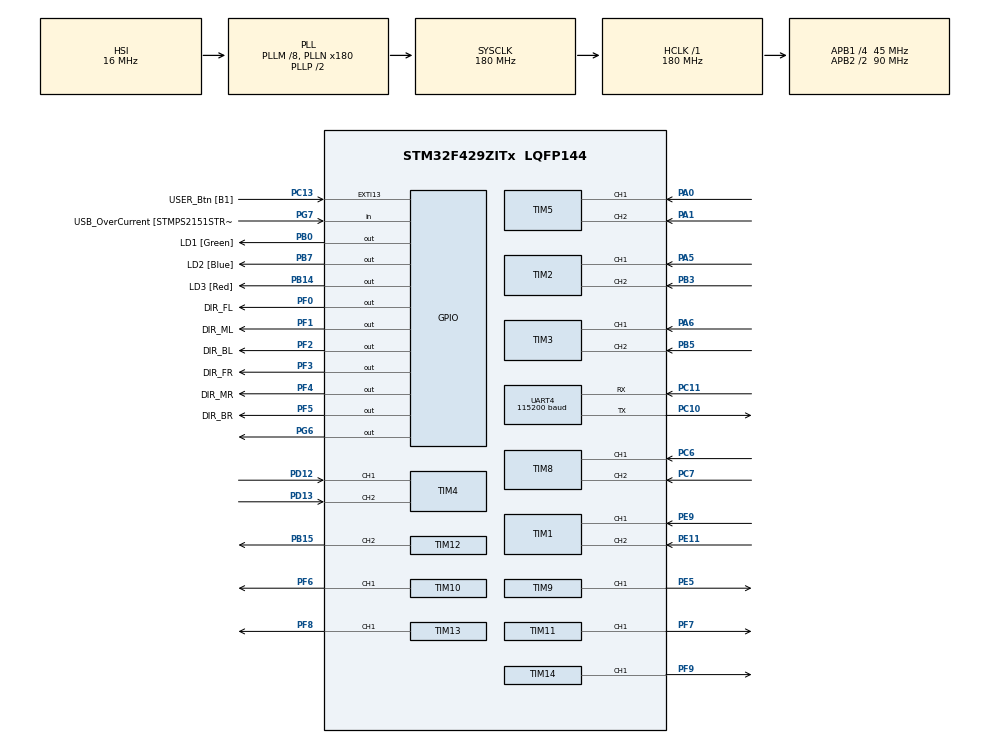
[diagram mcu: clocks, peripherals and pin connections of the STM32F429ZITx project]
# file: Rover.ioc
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Dma.Request0=UART4_RX
Dma.Request1=UART4_TX
Dma.UART4_RX.0.Direction=DMA_PERIPH_TO_MEMORY
Dma.UART4_RX.0.FIFOMode=DMA_FIFOMODE_DISABLE
Dma.UART4_RX.0.Instance=DMA1_Stream2
Dma.UART4_RX.0.MemDataAlignment=DMA_MDATAALIGN_BYTE
Dma.UART4_RX.0.MemInc=DMA_MINC_ENABLE
Dma.UART4_RX.0.Mode=DMA_CIRCULAR
Dma.UART4_RX.0.PeriphDataAlignment=DMA_PDATAALIGN_BYTE
Dma.UART4_RX.0.PeriphInc=DMA_PINC_DISABLE
Dma.UART4_RX.0.Priority=DMA_PRIORITY_LOW
Dma.UART4_TX.1.Direction=DMA_MEMORY_TO_PERIPH
Dma.UART4_TX.1.FIFOMode=DMA_FIFOMODE_DISABLE
Dma.UART4_TX.1.Instance=DMA1_Stream4
Dma.UART4_TX.1.MemDataAlignment=DMA_MDATAALIGN_BYTE
Dma.UART4_TX.1.MemInc=DMA_MINC_ENABLE
Dma.UART4_TX.1.Mode=DMA_NORMAL
Dma.UART4_TX.1.PeriphDataAlignment=DMA_PDATAALIGN_BYTE
Dma.UART4_TX.1.PeriphInc=DMA_PINC_DISABLE
Dma.UART4_TX.1.Priority=DMA_PRIORITY_LOW
Mcu.Family=STM32F4
Mcu.Name=STM32F429ZITx
Mcu.Package=LQFP144
NVIC.DMA1_Stream2_IRQn=true\:0\:0\:false\:false\:true\:false\:true\:true
NVIC.DMA1_Stream4_IRQn=true\:0\:0\:false\:false\:true\:false\:true\:true
NVIC.PriorityGroup=NVIC_PRIORITYGROUP_4
NVIC.UART4_IRQn=true\:0\:0\:false\:false\:true\:false\:true\:true
PA0/WKUP.Signal=S_TIM5_CH1
PA1.Signal=S_TIM5_CH2
PA10.GPIO_Label=USB_ID
PA10.Signal=USB_OTG_FS_ID
PA11.GPIO_Label=USB_DM
PA11.Signal=USB_OTG_FS_DM
PA12.GPIO_Label=USB_DP
PA12.Signal=USB_OTG_FS_DP
PA13.GPIO_Label=TMS
PA13.Mode=Serial_Wire
PA13.Signal=SYS_JTMS-SWDIO
PA14.GPIO_Label=TCK
PA14.Mode=Serial_Wire
PA14.Signal=SYS_JTCK-SWCLK
PA2.GPIO_Label=RMII_MDIO [LAN8742A-CZ-TR_MDIO]
PA2.Signal=ETH_MDIO
PA5.Signal=S_TIM2_CH1_ETR
PA6.Signal=S_TIM3_CH1
PA7.GPIO_Label=RMII_CRS_DV [LAN8742A-CZ-TR_CRS_DV]
PA7.Signal=ETH_CRS_DV
PA8.GPIO_Label=USB_SOF [TP1]
PA8.Signal=USB_OTG_FS_SOF
PA9.GPIO_Label=USB_VBUS
PA9.Signal=USB_OTG_FS_VBUS
PB0.GPIO_Label=LD1 [Green]
PB0.Signal=GPIO_Output
PB13.GPIO_Label=RMII_TXD1 [LAN8742A-CZ-TR_TXD1]
PB13.Signal=ETH_TXD1
PB14.GPIO_Label=LD3 [Red]
PB14.Signal=GPIO_Output
PB15.Signal=S_TIM12_CH2
PB3.Signal=S_TIM2_CH2
PB5.Signal=S_TIM3_CH2
PB7.GPIO_Label=LD2 [Blue]
PB7.Signal=GPIO_Output
PC1.GPIO_Label=RMII_MDC [LAN8742A-CZ-TR_MDC]
PC1.Signal=ETH_MDC
PC10.Mode=Asynchronous
PC10.Signal=UART4_TX
PC11.Mode=Asynchronous
PC11.Signal=UART4_RX
PC13.GPIO_Label=USER_Btn [B1]
PC13.Signal=GPXTI13
PC14/OSC32_IN.Signal=RCC_OSC32_IN
PC15/OSC32_OUT.Signal=RCC_OSC32_OUT
PC4.GPIO_Label=RMII_RXD0 [LAN8742A-CZ-TR_RXD0]
PC4.Signal=ETH_RXD0
PC5.GPIO_Label=RMII_RXD1 [LAN8742A-CZ-TR_RXD1]
PC5.Signal=ETH_RXD1
PC6.Signal=S_TIM8_CH1
PC7.Signal=S_TIM8_CH2
PD12.Signal=S_TIM4_CH1
PD13.Signal=S_TIM4_CH2
PD8.GPIO_Label=STLK_RX [STM32F103CBT6_PA3]
PD8.Signal=USART3_TX
PD9.GPIO_Label=STLK_TX [STM32F103CBT6_PA2]
PD9.Signal=USART3_RX
PE11.Signal=S_TIM1_CH2
PE5.Signal=S_TIM9_CH1
PE9.Signal=S_TIM1_CH1
PF0.GPIO_Label=DIR_FL
PF0.GPIO_Speed=GPIO_SPEED_FREQ_HIGH
PF0.Signal=GPIO_Output
PF1.GPIO_Label=DIR_ML
PF1.GPIO_Speed=GPIO_SPEED_FREQ_HIGH
PF1.Signal=GPIO_Output
PF2.GPIO_Label=DIR_BL
PF2.GPIO_Speed=GPIO_SPEED_FREQ_HIGH
PF2.Signal=GPIO_Output
PF3.GPIO_Label=DIR_FR
PF3.GPIO_Speed=GPIO_SPEED_FREQ_HIGH
PF3.Signal=GPIO_Output
PF4.GPIO_Label=DIR_MR
PF4.GPIO_Speed=GPIO_SPEED_FREQ_HIGH
PF4.Signal=GPIO_Output
PF5.GPIO_Label=DIR_BR
PF5.GPIO_Speed=GPIO_SPEED_FREQ_HIGH
PF5.Signal=GPIO_Output
PF6.Signal=S_TIM10_CH1
PF7.Signal=S_TIM11_CH1
PF8.Signal=S_TIM13_CH1
PF9.Signal=S_TIM14_CH1
PG11.GPIO_Label=RMII_TX_EN [LAN8742A-CZ-TR_TXEN]
PG11.Signal=ETH_TX_EN
PG13.GPIO_Label=RMII_TXD0 [LAN8742A-CZ-TR_TXD0]
PG13.Signal=ETH_TXD0
PG6.GPIO_Speed=GPIO_SPEED_FREQ_HIGH
PG6.Signal=GPIO_Output
PG7.GPIO_Label=USB_OverCurrent [STMPS2151STR_FAULT]
PG7.Signal=GPIO_Input
PH0/OSC_IN.GPIO_Label=MCO [STM32F103CBT6_PA8]
PH0/OSC_IN.Mode=HSE-External-Clock-Source
PH0/OSC_IN.Signal=RCC_OSC_IN
PH1/OSC_OUT.Mode=HSE-External-Clock-Source
PH1/OSC_OUT.Signal=RCC_OSC_OUT
ProjectManager.HeapSize=0x200
ProjectManager.StackSize=0x400
ProjectManager.TargetToolchain=STM32CubeIDE
RCC.48MHZClocksFreq_Value=90000000
RCC.AHBFreq_Value=180000000
RCC.APB1CLKDivider=RCC_HCLK_DIV4
RCC.APB1Freq_Value=45000000
RCC.APB1TimFreq_Value=90000000
RCC.APB2CLKDivider=RCC_HCLK_DIV2
RCC.APB2Freq_Value=90000000
RCC.APB2TimFreq_Value=180000000
RCC.CortexFreq_Value=180000000
RCC.HCLKFreq_Value=180000000
RCC.HSE_VALUE=8000000
RCC.HSI_VALUE=16000000
RCC.LSE_VALUE=32768
RCC.PLLM=8
RCC.PLLMUL=RCC_PLL_MUL9
RCC.PLLN=180
RCC.PRESCALERUSB=RCC_USBCLKSOURCE_PLL_DIV1_5
RCC.SYSCLKFreq_VALUE=180000000
RCC.SYSCLKSource=RCC_SYSCLKSOURCE_PLLCLK
RCC.SYSCLKSourceVirtual=RCC_SYSCLKSOURCE_PLLCLK
RCC.USBFreq_Value=48000000
RCC.VCOOutputFreq_Value=360000000
SH.S_TIM10_CH1.0=TIM10_CH1,PWM Generation1 CH1
SH.S_TIM11_CH1.0=TIM11_CH1,PWM Generation1 CH1
SH.S_TIM12_CH2.0=TIM12_CH2,PWM Generation2 CH2
SH.S_TIM13_CH1.0=TIM13_CH1,PWM Generation1 CH1
SH.S_TIM14_CH1.0=TIM14_CH1,PWM Generation1 CH1
SH.S_TIM1_CH1.0=TIM1_CH1,Encoder_Interface
SH.S_TIM1_CH2.0=TIM1_CH2,Encoder_Interface
SH.S_TIM2_CH1_ETR.0=TIM2_CH1,Encoder_Interface
SH.S_TIM2_CH2.0=TIM2_CH2,Encoder_Interface
SH.S_TIM3_CH1.0=TIM3_CH1,Encoder_Interface
SH.S_TIM3_CH2.0=TIM3_CH2,Encoder_Interface
SH.S_TIM4_CH1.0=TIM4_CH1,Encoder_Interface
SH.S_TIM4_CH2.0=TIM4_CH2,Encoder_Interface
SH.S_TIM5_CH1.0=TIM5_CH1,Encoder_Interface
SH.S_TIM5_CH2.0=TIM5_CH2,Encoder_Interface
SH.S_TIM8_CH1.0=TIM8_CH1,Encoder_Interface
SH.S_TIM8_CH2.0=TIM8_CH2,Encoder_Interface
SH.S_TIM9_CH1.0=TIM9_CH1,PWM Generation1 CH1
TIM1.EncoderMode=TIM_ENCODERMODE_TI12
TIM10.Channel=TIM_CHANNEL_1
TIM10.Period=8999
TIM11.Channel=TIM_CHANNEL_1
TIM11.Period=8999
TIM12.Channel-PWM\ Generation2\ CH2=TIM_CHANNEL_2
TIM12.Period=8999
TIM13.Channel=TIM_CHANNEL_1
TIM13.Period=8999
TIM14.Channel=TIM_CHANNEL_1
TIM14.Period=8999
TIM2.EncoderMode=TIM_ENCODERMODE_TI12
TIM3.EncoderMode=TIM_ENCODERMODE_TI12
TIM4.EncoderMode=TIM_ENCODERMODE_TI12
TIM8.EncoderMode=TIM_ENCODERMODE_TI12
TIM9.Channel-PWM\ Generation1\ CH1=TIM_CHANNEL_1
TIM9.Period=8999
UART4.BaudRate=115200
UART4.VirtualMode=Asynchronous
VP_TIM10_VS_ClockSourceINT.Mode=Enable_Timer
VP_TIM11_VS_ClockSourceINT.Mode=Enable_Timer
VP_TIM13_VS_ClockSourceINT.Mode=Enable_Timer
VP_TIM14_VS_ClockSourceINT.Mode=Enable_Timer
board=NUCLEO-F429ZI

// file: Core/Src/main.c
/* USER CODE BEGIN Header */
/**
  ******************************************************************************
  * @file           : main.c
  * @brief          : Main program body
  ******************************************************************************
  * @attention
  *
  * Copyright (c) 2026 STMicroelectronics.
  * All rights reserved.
  *
  * This software is licensed under terms that can be found in the LICENSE file
  * in the root directory of this software component.
  * If no LICENSE file comes with this software, it is provided AS-IS.
  *
  ******************************************************************************
  */
/* USER CODE END Header */
#include "main.h"

/* USER CODE BEGIN Includes */
#include "protocol.h"
#include "motor.h"
#include "encoder.h"
/* USER CODE END Includes */

TIM_HandleTypeDef htim1;
TIM_HandleTypeDef htim2;
TIM_HandleTypeDef htim3;
TIM_HandleTypeDef htim4;
TIM_HandleTypeDef htim5;
TIM_HandleTypeDef htim8;
TIM_HandleTypeDef htim9;
TIM_HandleTypeDef htim10;
TIM_HandleTypeDef htim11;
TIM_HandleTypeDef htim12;
TIM_HandleTypeDef htim13;
TIM_HandleTypeDef htim14;

UART_HandleTypeDef huart4;
DMA_HandleTypeDef hdma_uart4_rx;
DMA_HandleTypeDef hdma_uart4_tx;

/* USER CODE BEGIN PV */
uint8_t rx_byte;
/* USER CODE END PV */

void SystemClock_Config(void);
static void MX_GPIO_Init(void);
static void MX_DMA_Init(void);
static void MX_UART4_Init(void);
static void MX_TIM1_Init(void);
static void MX_TIM2_Init(void);
static void MX_TIM3_Init(void);
static void MX_TIM4_Init(void);
static void MX_TIM5_Init(void);
static void MX_TIM8_Init(void);
static void MX_TIM9_Init(void);
static void MX_TIM10_Init(void);
static void MX_TIM11_Init(void);
static void MX_TIM12_Init(void);
static void MX_TIM13_Init(void);
static void MX_TIM14_Init(void);

int main(void)
{

  /* MCU Configuration--------------------------------------------------------*/

  /* Reset of all peripherals, Initializes the Flash interface and the Systick. */
  HAL_Init();

  /* Configure the system clock */
  SystemClock_Config();

  /* Initialize all configured peripherals */
  MX_GPIO_Init();
  MX_DMA_Init();
  MX_UART4_Init();
  MX_TIM1_Init();
  MX_TIM2_Init();
  MX_TIM3_Init();
  MX_TIM4_Init();
  MX_TIM5_Init();
  MX_TIM8_Init();
  MX_TIM9_Init();
  MX_TIM10_Init();
  MX_TIM11_Init();
  MX_TIM12_Init();
  MX_TIM13_Init();
  MX_TIM14_Init();
  /* USER CODE BEGIN 2 */
  HAL_UART_Receive_IT(&huart4, &rx_byte, 1);

  Master_PID_Init(&left_board_pid,  2.0f, 0.5f, 0.01f, 0.0f, 0.0f, (float)MAX_PWM);
  Master_PID_Init(&right_board_pid, 2.0f, 0.5f, 0.01f, 0.0f, 0.0f, (float)MAX_PWM);
  for (int i = 0; i < 6; i++) {
      Slave_Init(&wheel_slaves[i], 0.5f);
  }

  HAL_TIM_Encoder_Start(&htim1, TIM_CHANNEL_ALL);
  HAL_TIM_Encoder_Start(&htim2, TIM_CHANNEL_ALL);
  HAL_TIM_Encoder_Start(&htim3, TIM_CHANNEL_ALL);
  HAL_TIM_Encoder_Start(&htim4, TIM_CHANNEL_ALL);
  HAL_TIM_Encoder_Start(&htim5, TIM_CHANNEL_ALL);
  HAL_TIM_Encoder_Start(&htim8, TIM_CHANNEL_ALL);

  HAL_TIM_PWM_Start(&htim9, TIM_CHANNEL_1);
  HAL_TIM_PWM_Start(&htim10, TIM_CHANNEL_1);
  HAL_TIM_PWM_Start(&htim11, TIM_CHANNEL_1);
  HAL_TIM_PWM_Start(&htim12, TIM_CHANNEL_2);
  HAL_TIM_PWM_Start(&htim13, TIM_CHANNEL_1);
  HAL_TIM_PWM_Start(&htim14, TIM_CHANNEL_1);

  uint32_t last_tx_tick = HAL_GetTick();
  TxPacket tx_packet;
  tx_packet.header = 0xBBBB;
  for (int i = 0; i < 6; i++) {
      tx_packet.encoders[i] = 0;
  }
  /* USER CODE END 2 */

  /* Infinite loop */
  while (1)
  {

    /* USER CODE BEGIN 3 */
    if (HAL_GetTick() - last_tx_tick >= 20) { // 50 Гц (20 мс)
        last_tx_tick += 20;

        // Failsafe проверка: если данных не было > 500 мс
        if (HAL_GetTick() - last_packet_time > 500) {
            target_left_speed = 0.0f;
            target_right_speed = 0.0f;
            left_board_pid.integral_sum = 0.0f;
            right_board_pid.integral_sum = 0.0f;
            HAL_GPIO_WritePin(LD1_GPIO_Port, LD1_Pin, GPIO_PIN_RESET); // Зеленый ВЫКЛ
            HAL_GPIO_WritePin(LD3_GPIO_Port, LD3_Pin, GPIO_PIN_SET);   // Красный ВКЛ

            // Мигаем синим светодиодом (LD2) раз в 250 мс
            if ((HAL_GetTick() / 250) % 2 == 0) {
                HAL_GPIO_WritePin(LD2_GPIO_Port, LD2_Pin, GPIO_PIN_SET);
            } else {
                HAL_GPIO_WritePin(LD2_GPIO_Port, LD2_Pin, GPIO_PIN_RESET);
            }
        } else {
            // При нормальной связи синий светодиод выключен
            HAL_GPIO_WritePin(LD2_GPIO_Port, LD2_Pin, GPIO_PIN_RESET);
        }

        read_encoders();

        // Накопление тиков для TX-пакета
        for (int i = 0; i < 6; i++) {
            tx_packet.encoders[i] += current_speeds[i];
        }

        // ПИД-управление (Master-Slave)
        float motor_outputs[6];
        update_rover_control(target_left_speed, target_right_speed, 0.02f, motor_outputs);

        apply_motor_power(motor_outputs);

        // Считаем CRC-8 от данных без байта CRC
        tx_packet.crc = calculate_crc8((uint8_t*)&tx_packet, sizeof(TxPacket) - 1);

        // Отправляем пакет по UART4 через DMA
        if (huart4.gState == HAL_UART_STATE_READY) {
            HAL_UART_Transmit_DMA(&huart4, (uint8_t*)&tx_packet, sizeof(TxPacket));
        }
    }
  }
  /* USER CODE END 3 */
}

void SystemClock_Config(void)
{
  RCC_OscInitTypeDef RCC_OscInitStruct = {0};
  RCC_ClkInitTypeDef RCC_ClkInitStruct = {0};

  /** Configure the main internal regulator output voltage
  */
  __HAL_RCC_PWR_CLK_ENABLE();
  __HAL_PWR_VOLTAGESCALING_CONFIG(PWR_REGULATOR_VOLTAGE_SCALE1);

  /** Initializes the RCC Oscillators according to the specified parameters
  * in the RCC_OscInitTypeDef structure.
  */
  RCC_OscInitStruct.OscillatorType = RCC_OSCILLATORTYPE_HSI;
  RCC_OscInitStruct.HSIState = RCC_HSI_ON;
  RCC_OscInitStruct.HSICalibrationValue = RCC_HSICALIBRATION_DEFAULT;
  RCC_OscInitStruct.PLL.PLLState = RCC_PLL_ON;
  RCC_OscInitStruct.PLL.PLLSource = RCC_PLLSOURCE_HSI;
  RCC_OscInitStruct.PLL.PLLM = 8;
  RCC_OscInitStruct.PLL.PLLN = 180;
  RCC_OscInitStruct.PLL.PLLP = RCC_PLLP_DIV2;
  RCC_OscInitStruct.PLL.PLLQ = 4;
  if (HAL_RCC_OscConfig(&RCC_OscInitStruct) != HAL_OK)
  {
    Error_Handler();
  }

  /** Activate the Over-Drive mode
  */
  if (HAL_PWREx_EnableOverDrive() != HAL_OK)
  {
    Error_Handler();
  }

  /** Initializes the CPU, AHB and APB buses clocks
  */
  RCC_ClkInitStruct.ClockType = RCC_CLOCKTYPE_HCLK|RCC_CLOCKTYPE_SYSCLK
                              |RCC_CLOCKTYPE_PCLK1|RCC_CLOCKTYPE_PCLK2;
  RCC_ClkInitStruct.SYSCLKSource = RCC_SYSCLKSOURCE_PLLCLK;
  RCC_ClkInitStruct.AHBCLKDivider = RCC_SYSCLK_DIV1;
  RCC_ClkInitStruct.APB1CLKDivider = RCC_HCLK_DIV4;
  RCC_ClkInitStruct.APB2CLKDivider = RCC_HCLK_DIV2;

  if (HAL_RCC_ClockConfig(&RCC_ClkInitStruct, FLASH_LATENCY_5) != HAL_OK)
  {
    Error_Handler();
  }
}

static void MX_TIM1_Init(void)
{

  TIM_Encoder_InitTypeDef sConfig = {0};
  TIM_MasterConfigTypeDef sMasterConfig = {0};

  htim1.Instance = TIM1;
  htim1.Init.Prescaler = 0;
  htim1.Init.CounterMode = TIM_COUNTERMODE_UP;
  htim1.Init.Period = 65535;
  htim1.Init.ClockDivision = TIM_CLOCKDIVISION_DIV1;
  htim1.Init.RepetitionCounter = 0;
  htim1.Init.AutoReloadPreload = TIM_AUTORELOAD_PRELOAD_DISABLE;
  sConfig.EncoderMode = TIM_ENCODERMODE_TI12;
  sConfig.IC1Polarity = TIM_ICPOLARITY_RISING;
  sConfig.IC1Selection = TIM_ICSELECTION_DIRECTTI;
  sConfig.IC1Prescaler = TIM_ICPSC_DIV1;
  sConfig.IC1Filter = 0;
  sConfig.IC2Polarity = TIM_ICPOLARITY_RISING;
  sConfig.IC2Selection = TIM_ICSELECTION_DIRECTTI;
  sConfig.IC2Prescaler = TIM_ICPSC_DIV1;
  sConfig.IC2Filter = 0;
  if (HAL_TIM_Encoder_Init(&htim1, &sConfig) != HAL_OK)
  {
    Error_Handler();
  }
  sMasterConfig.MasterOutputTrigger = TIM_TRGO_RESET;
  sMasterConfig.MasterSlaveMode = TIM_MASTERSLAVEMODE_DISABLE;
  if (HAL_TIMEx_MasterConfigSynchronization(&htim1, &sMasterConfig) != HAL_OK)
  {
    Error_Handler();
  }

}

static void MX_TIM2_Init(void)
{

  TIM_Encoder_InitTypeDef sConfig = {0};
  TIM_MasterConfigTypeDef sMasterConfig = {0};

  htim2.Instance = TIM2;
  htim2.Init.Prescaler = 0;
  htim2.Init.CounterMode = TIM_COUNTERMODE_UP;
  htim2.Init.Period = 4294967295;
  htim2.Init.ClockDivision = TIM_CLOCKDIVISION_DIV1;
  htim2.Init.AutoReloadPreload = TIM_AUTORELOAD_PRELOAD_DISABLE;
  sConfig.EncoderMode = TIM_ENCODERMODE_TI12;
  sConfig.IC1Polarity = TIM_ICPOLARITY_RISING;
  sConfig.IC1Selection = TIM_ICSELECTION_DIRECTTI;
  sConfig.IC1Prescaler = TIM_ICPSC_DIV1;
  sConfig.IC1Filter = 0;
  sConfig.IC2Polarity = TIM_ICPOLARITY_RISING;
  sConfig.IC2Selection = TIM_ICSELECTION_DIRECTTI;
  sConfig.IC2Prescaler = TIM_ICPSC_DIV1;
  sConfig.IC2Filter = 0;
  if (HAL_TIM_Encoder_Init(&htim2, &sConfig) != HAL_OK)
  {
    Error_Handler();
  }
  sMasterConfig.MasterOutputTrigger = TIM_TRGO_RESET;
  sMasterConfig.MasterSlaveMode = TIM_MASTERSLAVEMODE_DISABLE;
  if (HAL_TIMEx_MasterConfigSynchronization(&htim2, &sMasterConfig) != HAL_OK)
  {
    Error_Handler();
  }

}

static void MX_TIM3_Init(void)
{

  TIM_Encoder_InitTypeDef sConfig = {0};
  TIM_MasterConfigTypeDef sMasterConfig = {0};

  htim3.Instance = TIM3;
  htim3.Init.Prescaler = 0;
  htim3.Init.CounterMode = TIM_COUNTERMODE_UP;
  htim3.Init.Period = 65535;
  htim3.Init.ClockDivision = TIM_CLOCKDIVISION_DIV1;
  htim3.Init.AutoReloadPreload = TIM_AUTORELOAD_PRELOAD_DISABLE;
  sConfig.EncoderMode = TIM_ENCODERMODE_TI12;
  sConfig.IC1Polarity = TIM_ICPOLARITY_RISING;
  sConfig.IC1Selection = TIM_ICSELECTION_DIRECTTI;
  sConfig.IC1Prescaler = TIM_ICPSC_DIV1;
  sConfig.IC1Filter = 0;
  sConfig.IC2Polarity = TIM_ICPOLARITY_RISING;
  sConfig.IC2Selection = TIM_ICSELECTION_DIRECTTI;
  sConfig.IC2Prescaler = TIM_ICPSC_DIV1;
  sConfig.IC2Filter = 0;
  if (HAL_TIM_Encoder_Init(&htim3, &sConfig) != HAL_OK)
  {
    Error_Handler();
  }
  sMasterConfig.MasterOutputTrigger = TIM_TRGO_RESET;
  sMasterConfig.MasterSlaveMode = TIM_MASTERSLAVEMODE_DISABLE;
  if (HAL_TIMEx_MasterConfigSynchronization(&htim3, &sMasterConfig) != HAL_OK)
  {
    Error_Handler();
  }

}

static void MX_TIM4_Init(void)
{

  TIM_Encoder_InitTypeDef sConfig = {0};
  TIM_MasterConfigTypeDef sMasterConfig = {0};

  htim4.Instance = TIM4;
  htim4.Init.Prescaler = 0;
  htim4.Init.CounterMode = TIM_COUNTERMODE_UP;
  htim4.Init.Period = 65535;
  htim4.Init.ClockDivision = TIM_CLOCKDIVISION_DIV1;
  htim4.Init.AutoReloadPreload = TIM_AUTORELOAD_PRELOAD_DISABLE;
  sConfig.EncoderMode = TIM_ENCODERMODE_TI12;
  sConfig.IC1Polarity = TIM_ICPOLARITY_RISING;
  sConfig.IC1Selection = TIM_ICSELECTION_DIRECTTI;
  sConfig.IC1Prescaler = TIM_ICPSC_DIV1;
  sConfig.IC1Filter = 0;
  sConfig.IC2Polarity = TIM_ICPOLARITY_RISING;
  sConfig.IC2Selection = TIM_ICSELECTION_DIRECTTI;
  sConfig.IC2Prescaler = TIM_ICPSC_DIV1;
  sConfig.IC2Filter = 0;
  if (HAL_TIM_Encoder_Init(&htim4, &sConfig) != HAL_OK)
  {
    Error_Handler();
  }
  sMasterConfig.MasterOutputTrigger = TIM_TRGO_RESET;
  sMasterConfig.MasterSlaveMode = TIM_MASTERSLAVEMODE_DISABLE;
  if (HAL_TIMEx_MasterConfigSynchronization(&htim4, &sMasterConfig) != HAL_OK)
  {
    Error_Handler();
  }

}

static void MX_TIM5_Init(void)
{

  TIM_Encoder_InitTypeDef sConfig = {0};
  TIM_MasterConfigTypeDef sMasterConfig = {0};

  htim5.Instance = TIM5;
  htim5.Init.Prescaler = 0;
  htim5.Init.CounterMode = TIM_COUNTERMODE_UP;
  htim5.Init.Period = 4294967295;
  htim5.Init.ClockDivision = TIM_CLOCKDIVISION_DIV1;
  htim5.Init.AutoReloadPreload = TIM_AUTORELOAD_PRELOAD_DISABLE;
  sConfig.EncoderMode = TIM_ENCODERMODE_TI1;
  sConfig.IC1Polarity = TIM_ICPOLARITY_RISING;
  sConfig.IC1Selection = TIM_ICSELECTION_DIRECTTI;
  sConfig.IC1Prescaler = TIM_ICPSC_DIV1;
  sConfig.IC1Filter = 0;
  sConfig.IC2Polarity = TIM_ICPOLARITY_RISING;
  sConfig.IC2Selection = TIM_ICSELECTION_DIRECTTI;
  sConfig.IC2Prescaler = TIM_ICPSC_DIV1;
  sConfig.IC2Filter = 0;
  if (HAL_TIM_Encoder_Init(&htim5, &sConfig) != HAL_OK)
  {
    Error_Handler();
  }
  sMasterConfig.MasterOutputTrigger = TIM_TRGO_RESET;
  sMasterConfig.MasterSlaveMode = TIM_MASTERSLAVEMODE_DISABLE;
  if (HAL_TIMEx_MasterConfigSynchronization(&htim5, &sMasterConfig) != HAL_OK)
  {
    Error_Handler();
  }

}

static void MX_TIM8_Init(void)
{

  TIM_Encoder_InitTypeDef sConfig = {0};
  TIM_MasterConfigTypeDef sMasterConfig = {0};

  htim8.Instance = TIM8;
  htim8.Init.Prescaler = 0;
  htim8.Init.CounterMode = TIM_COUNTERMODE_UP;
  htim8.Init.Period = 65535;
  htim8.Init.ClockDivision = TIM_CLOCKDIVISION_DIV1;
  htim8.Init.RepetitionCounter = 0;
  htim8.Init.AutoReloadPreload = TIM_AUTORELOAD_PRELOAD_DISABLE;
  sConfig.EncoderMode = TIM_ENCODERMODE_TI12;
  sConfig.IC1Polarity = TIM_ICPOLARITY_RISING;
  sConfig.IC1Selection = TIM_ICSELECTION_DIRECTTI;
  sConfig.IC1Prescaler = TIM_ICPSC_DIV1;
  sConfig.IC1Filter = 0;
  sConfig.IC2Polarity = TIM_ICPOLARITY_RISING;
  sConfig.IC2Selection = TIM_ICSELECTION_DIRECTTI;
  sConfig.IC2Prescaler = TIM_ICPSC_DIV1;
  sConfig.IC2Filter = 0;
  if (HAL_TIM_Encoder_Init(&htim8, &sConfig) != HAL_OK)
  {
    Error_Handler();
  }
  sMasterConfig.MasterOutputTrigger = TIM_TRGO_RESET;
  sMasterConfig.MasterSlaveMode = TIM_MASTERSLAVEMODE_DISABLE;
  if (HAL_TIMEx_MasterConfigSynchronization(&htim8, &sMasterConfig) != HAL_OK)
  {
    Error_Handler();
  }

}

static void MX_TIM9_Init(void)
{

  TIM_OC_InitTypeDef sConfigOC = {0};

  htim9.Instance = TIM9;
  htim9.Init.Prescaler = 0;
  htim9.Init.CounterMode = TIM_COUNTERMODE_UP;
  htim9.Init.Period = 8999;
  htim9.Init.ClockDivision = TIM_CLOCKDIVISION_DIV1;
  htim9.Init.AutoReloadPreload = TIM_AUTORELOAD_PRELOAD_DISABLE;
  if (HAL_TIM_PWM_Init(&htim9) != HAL_OK)
  {
    Error_Handler();
  }
  sConfigOC.OCMode = TIM_OCMODE_PWM1;
  sConfigOC.Pulse = 0;
  sConfigOC.OCPolarity = TIM_OCPOLARITY_HIGH;
  sConfigOC.OCFastMode = TIM_OCFAST_DISABLE;
  if (HAL_TIM_PWM_ConfigChannel(&htim9, &sConfigOC, TIM_CHANNEL_1) != HAL_OK)
  {
    Error_Handler();
  }
  HAL_TIM_MspPostInit(&htim9);

}

static void MX_TIM10_Init(void)
{

  TIM_OC_InitTypeDef sConfigOC = {0};

  htim10.Instance = TIM10;
  htim10.Init.Prescaler = 0;
  htim10.Init.CounterMode = TIM_COUNTERMODE_UP;
  htim10.Init.Period = 8999;
  htim10.Init.ClockDivision = TIM_CLOCKDIVISION_DIV1;
  htim10.Init.AutoReloadPreload = TIM_AUTORELOAD_PRELOAD_DISABLE;
  if (HAL_TIM_Base_Init(&htim10) != HAL_OK)
  {
    Error_Handler();
  }
  if (HAL_TIM_PWM_Init(&htim10) != HAL_OK)
  {
    Error_Handler();
  }
  sConfigOC.OCMode = TIM_OCMODE_PWM1;
  sConfigOC.Pulse = 0;
  sConfigOC.OCPolarity = TIM_OCPOLARITY_HIGH;
  sConfigOC.OCFastMode = TIM_OCFAST_DISABLE;
  if (HAL_TIM_PWM_ConfigChannel(&htim10, &sConfigOC, TIM_CHANNEL_1) != HAL_OK)
  {
    Error_Handler();
  }
  HAL_TIM_MspPostInit(&htim10);

}

static void MX_TIM11_Init(void)
{

  TIM_OC_InitTypeDef sConfigOC = {0};

  htim11.Instance = TIM11;
  htim11.Init.Prescaler = 0;
  htim11.Init.CounterMode = TIM_COUNTERMODE_UP;
  htim11.Init.Period = 8999;
  htim11.Init.ClockDivision = TIM_CLOCKDIVISION_DIV1;
  htim11.Init.AutoReloadPreload = TIM_AUTORELOAD_PRELOAD_DISABLE;
  if (HAL_TIM_Base_Init(&htim11) != HAL_OK)
  {
    Error_Handler();
  }
  if (HAL_TIM_PWM_Init(&htim11) != HAL_OK)
  {
    Error_Handler();
  }
  sConfigOC.OCMode = TIM_OCMODE_PWM1;
  sConfigOC.Pulse = 0;
  sConfigOC.OCPolarity = TIM_OCPOLARITY_HIGH;
  sConfigOC.OCFastMode = TIM_OCFAST_DISABLE;
  if (HAL_TIM_PWM_ConfigChannel(&htim11, &sConfigOC, TIM_CHANNEL_1) != HAL_OK)
  {
    Error_Handler();
  }
  HAL_TIM_MspPostInit(&htim11);

}

static void MX_TIM12_Init(void)
{

  TIM_OC_InitTypeDef sConfigOC = {0};

  htim12.Instance = TIM12;
  htim12.Init.Prescaler = 0;
  htim12.Init.CounterMode = TIM_COUNTERMODE_UP;
  htim12.Init.Period = 8999;
  htim12.Init.ClockDivision = TIM_CLOCKDIVISION_DIV1;
  htim12.Init.AutoReloadPreload = TIM_AUTORELOAD_PRELOAD_DISABLE;
  if (HAL_TIM_PWM_Init(&htim12) != HAL_OK)
  {
    Error_Handler();
  }
  sConfigOC.OCMode = TIM_OCMODE_PWM1;
  sConfigOC.Pulse = 0;
  sConfigOC.OCPolarity = TIM_OCPOLARITY_HIGH;
  sConfigOC.OCFastMode = TIM_OCFAST_DISABLE;
  if (HAL_TIM_PWM_ConfigChannel(&htim12, &sConfigOC, TIM_CHANNEL_2) != HAL_OK)
  {
    Error_Handler();
  }
  HAL_TIM_MspPostInit(&htim12);

}

static void MX_TIM13_Init(void)
{

  TIM_OC_InitTypeDef sConfigOC = {0};

  htim13.Instance = TIM13;
  htim13.Init.Prescaler = 0;
  htim13.Init.CounterMode = TIM_COUNTERMODE_UP;
  htim13.Init.Period = 8999;
  htim13.Init.ClockDivision = TIM_CLOCKDIVISION_DIV1;
  htim13.Init.AutoReloadPreload = TIM_AUTORELOAD_PRELOAD_DISABLE;
  if (HAL_TIM_Base_Init(&htim13) != HAL_OK)
  {
    Error_Handler();
  }
  if (HAL_TIM_PWM_Init(&htim13) != HAL_OK)
  {
    Error_Handler();
  }
  sConfigOC.OCMode = TIM_OCMODE_PWM1;
  sConfigOC.Pulse = 0;
  sConfigOC.OCPolarity = TIM_OCPOLARITY_HIGH;
  sConfigOC.OCFastMode = TIM_OCFAST_DISABLE;
  if (HAL_TIM_PWM_ConfigChannel(&htim13, &sConfigOC, TIM_CHANNEL_1) != HAL_OK)
  {
    Error_Handler();
  }
  HAL_TIM_MspPostInit(&htim13);

}

static void MX_TIM14_Init(void)
{

  TIM_OC_InitTypeDef sConfigOC = {0};

  htim14.Instance = TIM14;
  htim14.Init.Prescaler = 0;
  htim14.Init.CounterMode = TIM_COUNTERMODE_UP;
  htim14.Init.Period = 8999;
  htim14.Init.ClockDivision = TIM_CLOCKDIVISION_DIV1;
  htim14.Init.AutoReloadPreload = TIM_AUTORELOAD_PRELOAD_DISABLE;
  if (HAL_TIM_Base_Init(&htim14) != HAL_OK)
  {
    Error_Handler();
  }
  if (HAL_TIM_PWM_Init(&htim14) != HAL_OK)
  {
    Error_Handler();
  }
  sConfigOC.OCMode = TIM_OCMODE_PWM1;
  sConfigOC.Pulse = 0;
  sConfigOC.OCPolarity = TIM_OCPOLARITY_HIGH;
  sConfigOC.OCFastMode = TIM_OCFAST_DISABLE;
  if (HAL_TIM_PWM_ConfigChannel(&htim14, &sConfigOC, TIM_CHANNEL_1) != HAL_OK)
  {
    Error_Handler();
  }
  HAL_TIM_MspPostInit(&htim14);

}

static void MX_UART4_Init(void)
{

  huart4.Instance = UART4;
  huart4.Init.BaudRate = 115200;
  huart4.Init.WordLength = UART_WORDLENGTH_8B;
  huart4.Init.StopBits = UART_STOPBITS_1;
  huart4.Init.Parity = UART_PARITY_NONE;
  huart4.Init.Mode = UART_MODE_TX_RX;
  huart4.Init.HwFlowCtl = UART_HWCONTROL_NONE;
  huart4.Init.OverSampling = UART_OVERSAMPLING_16;
  if (HAL_UART_Init(&huart4) != HAL_OK)
  {
    Error_Handler();
  }

}

static void MX_DMA_Init(void)
{

  /* DMA controller clock enable */
  __HAL_RCC_DMA1_CLK_ENABLE();

  /* DMA interrupt init */
  /* DMA1_Stream2_IRQn interrupt configuration */
  HAL_NVIC_SetPriority(DMA1_Stream2_IRQn, 0, 0);
  HAL_NVIC_EnableIRQ(DMA1_Stream2_IRQn);
  /* DMA1_Stream4_IRQn interrupt configuration */
  HAL_NVIC_SetPriority(DMA1_Stream4_IRQn, 0, 0);
  HAL_NVIC_EnableIRQ(DMA1_Stream4_IRQn);

}

static void MX_GPIO_Init(void)
{
  GPIO_InitTypeDef GPIO_InitStruct = {0};

  /* GPIO Ports Clock Enable */
  __HAL_RCC_GPIOE_CLK_ENABLE();
  __HAL_RCC_GPIOC_CLK_ENABLE();
  __HAL_RCC_GPIOF_CLK_ENABLE();
  __HAL_RCC_GPIOH_CLK_ENABLE();
  __HAL_RCC_GPIOA_CLK_ENABLE();
  __HAL_RCC_GPIOB_CLK_ENABLE();
  __HAL_RCC_GPIOD_CLK_ENABLE();
  __HAL_RCC_GPIOG_CLK_ENABLE();

  /*Configure GPIO pin Output Level */
  HAL_GPIO_WritePin(GPIOF, DIR_FL_Pin|DIR_ML_Pin|DIR_BL_Pin|DIR_FR_Pin
                          |DIR_MR_Pin|DIR_BR_Pin, GPIO_PIN_RESET);

  /*Configure GPIO pin Output Level */
  HAL_GPIO_WritePin(GPIOB, LD1_Pin|LD3_Pin|LD2_Pin, GPIO_PIN_RESET);

  /*Configure GPIO pin Output Level */
  HAL_GPIO_WritePin(GPIOG, GPIO_PIN_6, GPIO_PIN_RESET);

  /*Configure GPIO pin : USER_Btn_Pin */
  GPIO_InitStruct.Pin = USER_Btn_Pin;
  GPIO_InitStruct.Mode = GPIO_MODE_IT_RISING;
  GPIO_InitStruct.Pull = GPIO_NOPULL;
  HAL_GPIO_Init(USER_Btn_GPIO_Port, &GPIO_InitStruct);

  /*Configure GPIO pins : DIR_FL_Pin DIR_ML_Pin DIR_BL_Pin DIR_FR_Pin
                           DIR_MR_Pin DIR_BR_Pin */
  GPIO_InitStruct.Pin = DIR_FL_Pin|DIR_ML_Pin|DIR_BL_Pin|DIR_FR_Pin
                          |DIR_MR_Pin|DIR_BR_Pin;
  GPIO_InitStruct.Mode = GPIO_MODE_OUTPUT_PP;
  GPIO_InitStruct.Pull = GPIO_NOPULL;
  GPIO_InitStruct.Speed = GPIO_SPEED_FREQ_HIGH;
  HAL_GPIO_Init(GPIOF, &GPIO_InitStruct);

  /*Configure GPIO pins : RMII_MDC_Pin RMII_RXD0_Pin RMII_RXD1_Pin */
  GPIO_InitStruct.Pin = RMII_MDC_Pin|RMII_RXD0_Pin|RMII_RXD1_Pin;
  GPIO_InitStruct.Mode = GPIO_MODE_AF_PP;
  GPIO_InitStruct.Pull = GPIO_NOPULL;
  GPIO_InitStruct.Speed = GPIO_SPEED_FREQ_VERY_HIGH;
  GPIO_InitStruct.Alternate = GPIO_AF11_ETH;
  HAL_GPIO_Init(GPIOC, &GPIO_InitStruct);

  /*Configure GPIO pins : RMII_MDIO_Pin RMII_CRS_DV_Pin */
  GPIO_InitStruct.Pin = RMII_MDIO_Pin|RMII_CRS_DV_Pin;
  GPIO_InitStruct.Mode = GPIO_MODE_AF_PP;
  GPIO_InitStruct.Pull = GPIO_NOPULL;
  GPIO_InitStruct.Speed = GPIO_SPEED_FREQ_VERY_HIGH;
  GPIO_InitStruct.Alternate = GPIO_AF11_ETH;
  HAL_GPIO_Init(GPIOA, &GPIO_InitStruct);

  /*Configure GPIO pins : LD1_Pin LD3_Pin LD2_Pin */
  GPIO_InitStruct.Pin = LD1_Pin|LD3_Pin|LD2_Pin;
  GPIO_InitStruct.Mode = GPIO_MODE_OUTPUT_PP;
  GPIO_InitStruct.Pull = GPIO_NOPULL;
  GPIO_InitStruct.Speed = GPIO_SPEED_FREQ_LOW;
  HAL_GPIO_Init(GPIOB, &GPIO_InitStruct);

  /*Configure GPIO pin : RMII_TXD1_Pin */
  GPIO_InitStruct.Pin = RMII_TXD1_Pin;
  GPIO_InitStruct.Mode = GPIO_MODE_AF_PP;
  GPIO_InitStruct.Pull = GPIO_NOPULL;
  GPIO_InitStruct.Speed = GPIO_SPEED_FREQ_VERY_HIGH;
  GPIO_InitStruct.Alternate = GPIO_AF11_ETH;
  HAL_GPIO_Init(RMII_TXD1_GPIO_Port, &GPIO_InitStruct);

  /*Configure GPIO pins : STLK_RX_Pin STLK_TX_Pin */
  GPIO_InitStruct.Pin = STLK_RX_Pin|STLK_TX_Pin;
  GPIO_InitStruct.Mode = GPIO_MODE_AF_PP;
  GPIO_InitStruct.Pull = GPIO_NOPULL;
  GPIO_InitStruct.Speed = GPIO_SPEED_FREQ_VERY_HIGH;
  GPIO_InitStruct.Alternate = GPIO_AF7_USART3;
  HAL_GPIO_Init(GPIOD, &GPIO_InitStruct);

  /*Configure GPIO pin : PG6 */
  GPIO_InitStruct.Pin = GPIO_PIN_6;
  GPIO_InitStruct.Mode = GPIO_MODE_OUTPUT_PP;
  GPIO_InitStruct.Pull = GPIO_NOPULL;
  GPIO_InitStruct.Speed = GPIO_SPEED_FREQ_HIGH;
  HAL_GPIO_Init(GPIOG, &GPIO_InitStruct);

  /*Configure GPIO pin : USB_OverCurrent_Pin */
  GPIO_InitStruct.Pin = USB_OverCurrent_Pin;
  GPIO_InitStruct.Mode = GPIO_MODE_INPUT;
  GPIO_InitStruct.Pull = GPIO_NOPULL;
  HAL_GPIO_Init(USB_OverCurrent_GPIO_Port, &GPIO_InitStruct);

  /*Configure GPIO pins : USB_SOF_Pin USB_ID_Pin USB_DM_Pin USB_DP_Pin */
  GPIO_InitStruct.Pin = USB_SOF_Pin|USB_ID_Pin|USB_DM_Pin|USB_DP_Pin;
  GPIO_InitStruct.Mode = GPIO_MODE_AF_PP;
  GPIO_InitStruct.Pull = GPIO_NOPULL;
  GPIO_InitStruct.Speed = GPIO_SPEED_FREQ_VERY_HIGH;
  GPIO_InitStruct.Alternate = GPIO_AF10_OTG_FS;
  HAL_GPIO_Init(GPIOA, &GPIO_InitStruct);

  /*Configure GPIO pin : USB_VBUS_Pin */
  GPIO_InitStruct.Pin = USB_VBUS_Pin;
  GPIO_InitStruct.Mode = GPIO_MODE_INPUT;
  GPIO_InitStruct.Pull = GPIO_NOPULL;
  HAL_GPIO_Init(USB_VBUS_GPIO_Port, &GPIO_InitStruct);

  /*Configure GPIO pins : RMII_TX_EN_Pin RMII_TXD0_Pin */
  GPIO_InitStruct.Pin = RMII_TX_EN_Pin|RMII_TXD0_Pin;
  GPIO_InitStruct.Mode = GPIO_MODE_AF_PP;
  GPIO_InitStruct.Pull = GPIO_NOPULL;
  GPIO_InitStruct.Speed = GPIO_SPEED_FREQ_VERY_HIGH;
  GPIO_InitStruct.Alternate = GPIO_AF11_ETH;
  HAL_GPIO_Init(GPIOG, &GPIO_InitStruct);

}

/* USER CODE BEGIN 4 */
void HAL_UART_RxCpltCallback(UART_HandleTypeDef *huart) {
    if (huart->Instance == UART4) {
        // Отправляем байт в парсер
        parse_incoming_byte(rx_byte);

        // Снова запускаем прием следующего байта
        HAL_UART_Receive_IT(&huart4, &rx_byte, 1);
    }
}
/* USER CODE END 4 */

void Error_Handler(void)
{
  __disable_irq();
  while (1)
  {
  }
}
